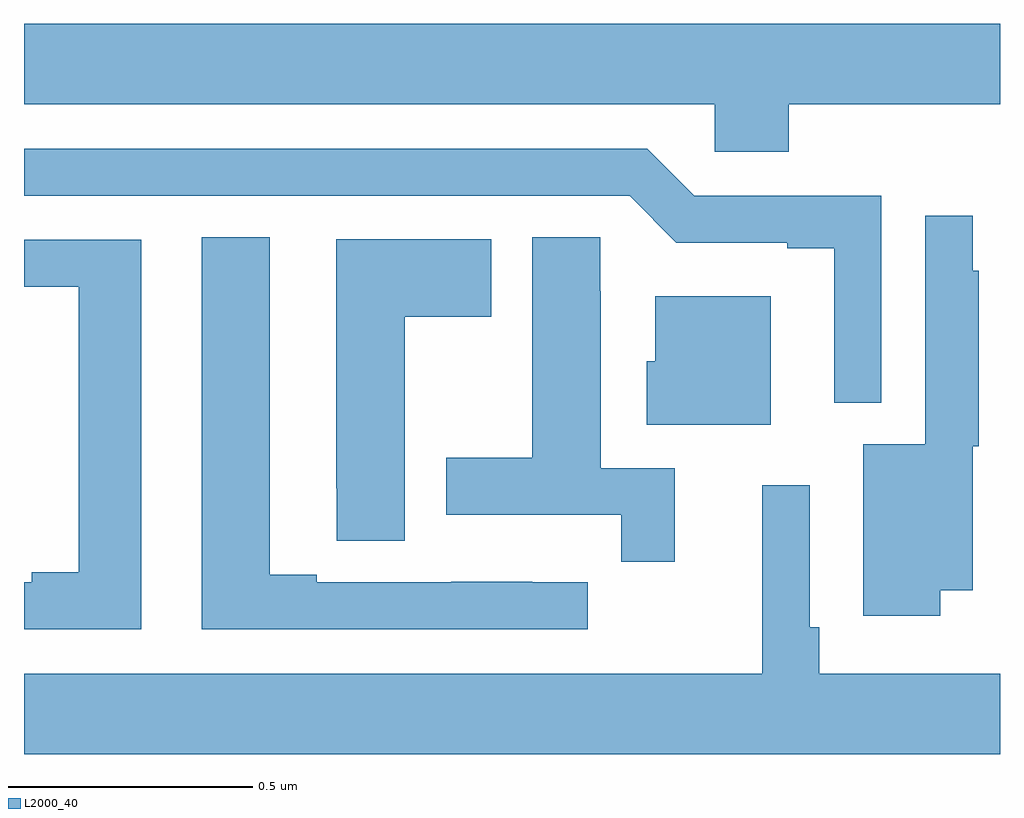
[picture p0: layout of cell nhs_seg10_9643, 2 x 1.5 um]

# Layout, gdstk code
import gdstk
lib = gdstk.Library(unit=1e-6, precision=1e-09)
def P(c, l, *ps):  # polygons
    for p in ps: c.add(gdstk.Polygon(p, *l))
L2000_40 = (2000, 40)

nhs_seg10_9643 = lib.new_cell('nhs_seg10_9643')
P(nhs_seg10_9643, L2000_40, [(233.567,1294.988),(234,1294.988),(234,1295.152),(232,1295.152),(232,1294.988),(233.415,1294.988),(233.415,1294.89),(233.567,1294.89)],
  [(233.757,1294.8),(233.373,1294.8),(233.277,1294.896),(232,1294.896),(232,1294.8),(233.241,1294.8),(233.337,1294.704),(233.564,1294.704),(233.564,1294.692),(233.66,1294.692),(233.66,1294.376),(233.757,1294.376)],
  [(233.878,1293.992),(233.944,1293.992),(233.944,1294.287),(233.956,1294.287),(233.956,1294.646),(233.944,1294.646),(233.944,1294.759),(233.847,1294.759),(233.847,1294.291),(233.72,1294.291),(233.72,1293.939),(233.878,1293.939)],
  [(233.155,1294.008),(233.042,1294.008),(233.042,1294.009),(232.876,1294.009),(232.876,1294.008),(232.6,1294.008),(232.6,1294.023),(232.504,1294.023),(232.504,1294.715),(232.364,1294.715),(232.364,1293.912),(233.155,1293.912)],
  [(233.333,1294.242),(233.182,1294.242),(233.182,1294.604),(233.181,1294.604),(233.181,1294.715),(233.042,1294.715),(233.042,1294.263),(232.865,1294.263),(232.865,1294.146),(233.224,1294.146),(233.224,1294.05),(233.333,1294.05)],
  [(232.78,1294.552),(232.957,1294.552),(232.957,1294.711),(232.64,1294.711),(232.64,1294.201),(232.641,1294.201),(232.641,1294.093),(232.78,1294.093)],
  [(232.24,1294.71),(232,1294.71),(232,1294.614),(232.112,1294.614),(232.112,1294.028),(232.016,1294.028),(232.016,1294.008),(232,1294.008),(232,1293.912),(232.24,1293.912)],
  [(233.53,1294.594),(233.294,1294.594),(233.294,1294.461),(233.276,1294.461),(233.276,1294.331),(233.53,1294.331)],
  [(234,1293.82),(233.63,1293.82),(233.63,1293.916),(233.61,1293.916),(233.61,1294.207),(233.513,1294.207),(233.513,1293.82),(232,1293.82),(232,1293.656),(234,1293.656)])

lib.write_gds('nhs_seg10_9643.gds')
